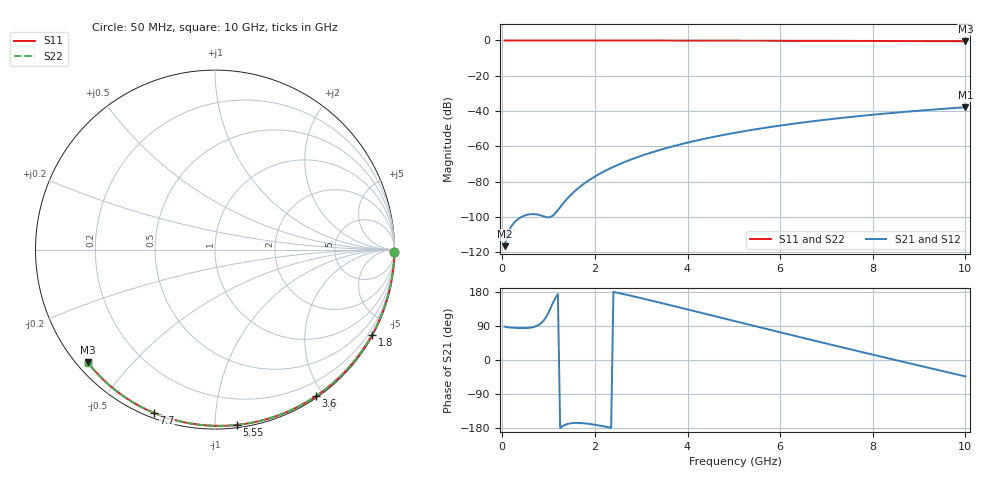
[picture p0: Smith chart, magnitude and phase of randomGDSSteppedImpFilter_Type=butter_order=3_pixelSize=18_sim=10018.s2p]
! freq	dB(S11)	phase(S11)	dB(S12)	phase(S12)
!  dB(S21)	phase(S21)	dB(S22)	phase(S22)
!S-par simulation data
#  GHz  S  DB  R 50
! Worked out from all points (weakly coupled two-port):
!   200 points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, 50 MHz to 10 GHz, reference 50 ohm
!   highest |S21| = -37.88 dB at 10 GHz (marker M1); lowest = -116.7 dB at 50 MHz (marker M2)
!   lowest |S11| = -0.5 dB at 10 GHz (marker M3), VSWR 36.99, Z = 1.55 - j18.9 ohm
!   |S11| at or under -10 dB: nowhere
!   |S22| runs from -0.5 to 0.0 dB; largest |S21 - S12| = 0
!   S11 on the Smith chart (normalised r, x): 50 MHz: open; 1.8 GHz: 0.03, -3.95; 3.6 GHz: 0.02, -1.90; 5.55 GHz: 0.02, -1.13; 7.7 GHz: 0.02, -0.69; 10 GHz: 0.03, -0.38
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0.05  -0.00 -0.8  -116.66 88.1  -116.66 88.1  -0.00 -0.8
0.45  -0.01 -7.2  -99.63 84.0  -99.63 84.0  -0.01 -7.2
0.9  -0.02 -14.3  -99.81 105.1  -99.81 105.1  -0.02 -14.3
1.75  -0.04 -27.6  -81.51 -166.9  -81.51 -166.9  -0.04 -27.6
1.8  -0.04 -28.4  -80.56 -167.5  -80.56 -167.5  -0.04 -28.4
1.85  -0.04 -29.2  -79.66 -168.2  -79.66 -168.2  -0.04 -29.1
2.05  -0.04 -32.3  -76.39 -171.9  -76.39 -171.9  -0.04 -32.2
2.25  -0.05 -35.3  -73.57 -176.5  -73.57 -176.5  -0.05 -35.3
2.55  -0.05 -39.9  -69.93 175.8  -69.93 175.8  -0.05 -39.8
2.95  -0.06 -45.9  -65.89 164.6  -65.89 164.6  -0.06 -45.8
3.4  -0.07 -52.6  -62.11 151.4  -62.11 151.4  -0.07 -52.5
3.6  -0.07 -55.5  -60.62 145.5  -60.62 145.5  -0.07 -55.4
3.9  -0.08 -59.8  -58.58 136.5  -58.58 136.5  -0.08 -59.7
4.3  -0.09 -65.5  -56.13 124.4  -56.13 124.4  -0.09 -65.4
5.05  -0.12 -76.0  -52.24 101.7  -52.24 101.7  -0.12 -75.9
5.55  -0.14 -82.8  -50.04 86.6  -50.04 86.6  -0.14 -82.7
6.1  -0.16 -90.1  -47.89 70.1  -47.89 70.1  -0.16 -90.0
6.7  -0.19 -97.9  -45.83 52.2  -45.83 52.2  -0.19 -97.7
7.7  -0.25 -110.5  -42.90 22.8  -42.90 22.8  -0.25 -110.3
8.35  -0.30 -118.5  -41.27 3.9  -41.27 3.9  -0.30 -118.4
9.2  -0.38 -128.8  -39.40 -20.5  -39.40 -20.5  -0.38 -128.7
10  -0.47 -138.5  -37.88 -43.3  -37.88 -43.3  -0.47 -138.3
